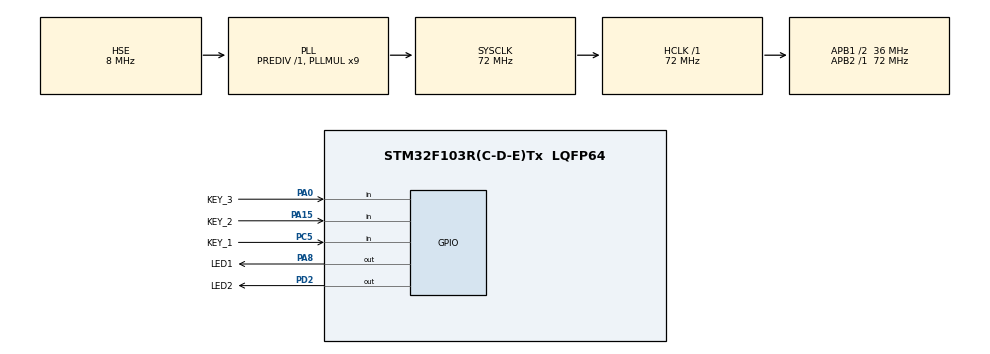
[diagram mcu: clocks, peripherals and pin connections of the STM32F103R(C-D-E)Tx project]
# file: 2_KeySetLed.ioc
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FREERTOS.Tasks01=KEY_Scan,24,128,Key_Entry,Default,NULL,Dynamic,NULL,NULL
Mcu.Family=STM32F1
Mcu.Name=STM32F103R(C-D-E)Tx
Mcu.Package=LQFP64
NVIC.PriorityGroup=NVIC_PRIORITYGROUP_4
NVIC.TIM7_IRQn=true\:15\:0\:false\:false\:true\:false\:false\:true\:true
NVIC.TimeBase=TIM7_IRQn
NVIC.TimeBaseIP=TIM7
PA0-WKUP.GPIO_Label=KEY_3
PA0-WKUP.GPIO_PuPd=GPIO_PULLDOWN
PA0-WKUP.Signal=GPIO_Input
PA13.Mode=Serial_Wire
PA13.Signal=SYS_JTMS-SWDIO
PA14.Mode=Serial_Wire
PA14.Signal=SYS_JTCK-SWCLK
PA15.GPIO_Label=KEY_2
PA15.GPIO_PuPd=GPIO_PULLUP
PA15.Signal=GPIO_Input
PA8.GPIO_Label=LED1
PA8.GPIO_PuPd=GPIO_PULLUP
PA8.GPIO_Speed=GPIO_SPEED_FREQ_HIGH
PA8.PinState=GPIO_PIN_SET
PA8.Signal=GPIO_Output
PC14-OSC32_IN.Mode=LSE-External-Oscillator
PC14-OSC32_IN.Signal=RCC_OSC32_IN
PC15-OSC32_OUT.Mode=LSE-External-Oscillator
PC15-OSC32_OUT.Signal=RCC_OSC32_OUT
PC5.GPIO_Label=KEY_1
PC5.GPIO_PuPd=GPIO_PULLUP
PC5.Signal=GPIO_Input
PD0-OSC_IN.Mode=HSE-External-Oscillator
PD0-OSC_IN.Signal=RCC_OSC_IN
PD1-OSC_OUT.Mode=HSE-External-Oscillator
PD1-OSC_OUT.Signal=RCC_OSC_OUT
PD2.GPIO_Label=LED2
PD2.GPIO_PuPd=GPIO_PULLUP
PD2.GPIO_Speed=GPIO_SPEED_FREQ_HIGH
PD2.PinState=GPIO_PIN_SET
PD2.Signal=GPIO_Output
ProjectManager.HeapSize=0x200
ProjectManager.StackSize=0x400
ProjectManager.TargetToolchain=MDK-ARM V5.32
RCC.AHBFreq_Value=72000000
RCC.APB1CLKDivider=RCC_HCLK_DIV2
RCC.APB1Freq_Value=36000000
RCC.APB1TimFreq_Value=72000000
RCC.APB2Freq_Value=72000000
RCC.APB2TimFreq_Value=72000000
RCC.HCLKFreq_Value=72000000
RCC.PLLMUL=RCC_PLL_MUL9
RCC.PLLSourceVirtual=RCC_PLLSOURCE_HSE
RCC.SYSCLKFreq_VALUE=72000000
RCC.SYSCLKSource=RCC_SYSCLKSOURCE_PLLCLK
RCC.USBFreq_Value=72000000
VP_FREERTOS_VS_CMSIS_V2.Mode=CMSIS_V2
VP_SYS_VS_tim7.Mode=TIM7
board=custom

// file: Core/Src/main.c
/* USER CODE BEGIN Header */
/**
  ******************************************************************************
  * @file           : main.c
  * @brief          : Main program body
  ******************************************************************************
  * @attention
  *
  * Copyright (c) 2023 STMicroelectronics.
  * All rights reserved.
  *
  * This software is licensed under terms that can be found in the LICENSE file
  * in the root directory of this software component.
  * If no LICENSE file comes with this software, it is provided AS-IS.
  *
  ******************************************************************************
  */
/* USER CODE END Header */
#include "main.h"
#include "cmsis_os.h"
#include "gpio.h"

void SystemClock_Config(void);
void MX_FREERTOS_Init(void);

int main(void)
{

  /* MCU Configuration--------------------------------------------------------*/

  /* Reset of all peripherals, Initializes the Flash interface and the Systick. */
  HAL_Init();

  /* Configure the system clock */
  SystemClock_Config();

  /* Initialize all configured peripherals */
  MX_GPIO_Init();

  /* Init scheduler */
  osKernelInitialize();

  /* Call init function for freertos objects (in freertos.c) */
  MX_FREERTOS_Init();

  /* Start scheduler */
  osKernelStart();

  /* We should never get here as control is now taken by the scheduler */
  /* Infinite loop */
  while (1)
  {

  }
}

void SystemClock_Config(void)
{
  RCC_OscInitTypeDef RCC_OscInitStruct = {0};
  RCC_ClkInitTypeDef RCC_ClkInitStruct = {0};

  /** Initializes the RCC Oscillators according to the specified parameters
  * in the RCC_OscInitTypeDef structure.
  */
  RCC_OscInitStruct.OscillatorType = RCC_OSCILLATORTYPE_HSE;
  RCC_OscInitStruct.HSEState = RCC_HSE_ON;
  RCC_OscInitStruct.HSEPredivValue = RCC_HSE_PREDIV_DIV1;
  RCC_OscInitStruct.HSIState = RCC_HSI_ON;
  RCC_OscInitStruct.PLL.PLLState = RCC_PLL_ON;
  RCC_OscInitStruct.PLL.PLLSource = RCC_PLLSOURCE_HSE;
  RCC_OscInitStruct.PLL.PLLMUL = RCC_PLL_MUL9;
  if (HAL_RCC_OscConfig(&RCC_OscInitStruct) != HAL_OK)
  {
    Error_Handler();
  }

  /** Initializes the CPU, AHB and APB buses clocks
  */
  RCC_ClkInitStruct.ClockType = RCC_CLOCKTYPE_HCLK|RCC_CLOCKTYPE_SYSCLK
                              |RCC_CLOCKTYPE_PCLK1|RCC_CLOCKTYPE_PCLK2;
  RCC_ClkInitStruct.SYSCLKSource = RCC_SYSCLKSOURCE_PLLCLK;
  RCC_ClkInitStruct.AHBCLKDivider = RCC_SYSCLK_DIV1;
  RCC_ClkInitStruct.APB1CLKDivider = RCC_HCLK_DIV2;
  RCC_ClkInitStruct.APB2CLKDivider = RCC_HCLK_DIV1;

  if (HAL_RCC_ClockConfig(&RCC_ClkInitStruct, FLASH_LATENCY_2) != HAL_OK)
  {
    Error_Handler();
  }
}

void HAL_TIM_PeriodElapsedCallback(TIM_HandleTypeDef *htim)
{
  if (htim->Instance == TIM7) {
    HAL_IncTick();
  }
}

void Error_Handler(void)
{
  __disable_irq();
  while (1)
  {
  }
}

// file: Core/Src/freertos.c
/* USER CODE BEGIN Header */
/**
  ******************************************************************************
  * File Name          : freertos.c
  * Description        : Code for freertos applications
  ******************************************************************************
  * @attention
  *
  * Copyright (c) 2023 STMicroelectronics.
  * All rights reserved.
  *
  * This software is licensed under terms that can be found in the LICENSE file
  * in the root directory of this software component.
  * If no LICENSE file comes with this software, it is provided AS-IS.
  *
  ******************************************************************************
  */
/* USER CODE END Header */

#include "FreeRTOS.h"
#include "task.h"
#include "main.h"
#include "cmsis_os.h"

/* USER CODE BEGIN Includes */
#include "LED.h"
#include "Key.h"
/* USER CODE END Includes */

/* Definitions for KEY_Scan */
osThreadId_t KEY_ScanHandle;
const osThreadAttr_t KEY_Scan_attributes = {
  .name = "KEY_Scan",
  .stack_size = 128 * 4,
  .priority = (osPriority_t) osPriorityNormal,
};

void Key_Entry(void *argument);

void MX_FREERTOS_Init(void); /* (MISRA C 2004 rule 8.1) */

void MX_FREERTOS_Init(void) {

  /* Create the thread(s) */
  /* creation of KEY_Scan */
  KEY_ScanHandle = osThreadNew(Key_Entry, NULL, &KEY_Scan_attributes);

}

void Key_Entry(void *argument)
{
  /* USER CODE BEGIN Key_Entry */
  uint8_t key_num;
  uint8_t key3_flag = 0;
  /* Infinite loop */
  for(;;)
  {
    key_num = Get_GetNum();
    switch (key_num)
    {
    case KEY1:
        SET_LED1(LED_ON);
        SET_LED2(LED_OFF);
        key3_flag = 0;
        break;
    case KEY2:
        SET_LED1(LED_OFF);
        SET_LED2(LED_ON);
        key3_flag = 0;
        break;
    case KEY3:
        if(key3_flag == 0){
            SET_LED1(LED_ON);
            SET_LED2(LED_ON);
            key3_flag = 1;
        } else {
            Toggle_LED();
        }
        break;
    default:
        break;
    }
  }
  /* USER CODE END Key_Entry */
}
